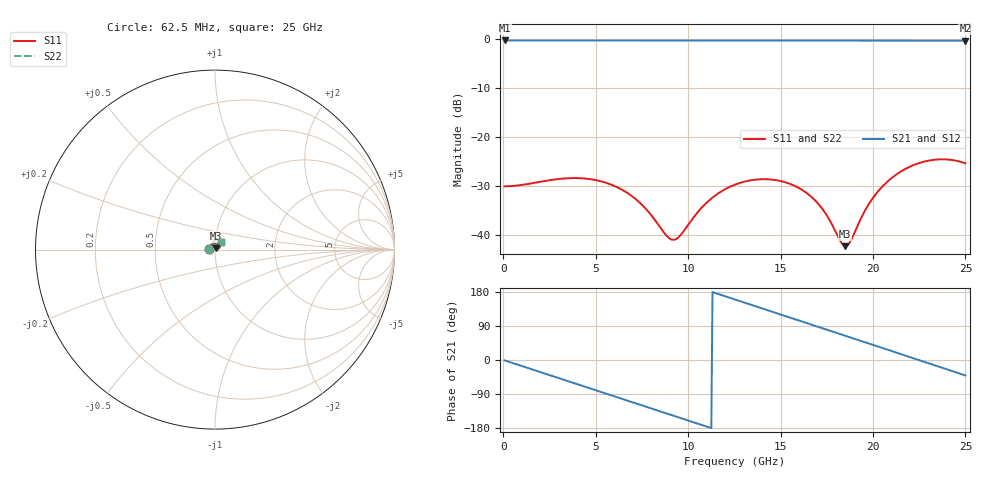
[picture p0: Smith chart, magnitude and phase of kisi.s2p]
! thru_BV_vna_rf_hblb1_q050f25s_out: 2×thru In2.Cu, 6 mm
! stackup: as the board case
! ports: 1 near, 2 far
! kisi-fdtd, conformal, dfine 0.05 mm, 296725 cells
# Hz S RI R 50
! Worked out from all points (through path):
!   400 points, 62.5 MHz to 25 GHz, reference 50 ohm
!   highest |S21| = -0.28 dB at 62.5 MHz (marker M1); lowest = -0.3 dB at 25 GHz (marker M2)
!   group delay of S21, straight-line fit = 44.5 ps
!   lowest |S11| = -42.2 dB at 18.5 GHz (marker M3), VSWR 1.02, Z = 50.3 + j0.719 ohm
!   |S11| at or under -10 dB: start of sweep to end of sweep
!   |S22| runs from -42.2 to -24.5 dB; largest |S21 - S12| = 0
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6.25e7  -0.0315 0.00109  0.9679 -0.0169  0.9679 -0.0169  -0.0315 0.00109
2e9  -0.0176 0.0304  0.8201 -0.5126  0.8201 -0.5126  -0.0176 0.0304
4.25e9  0.0153 0.0349  0.3631 -0.8952  0.3631 -0.8952  0.0153 0.0349
5.25e9  0.0243 0.026  0.103 -0.9603  0.103 -0.9603  0.0243 0.026
6.25e9  0.0261 0.0153  -0.1652 -0.9516  -0.1652 -0.9516  0.0261 0.0153
7.375e9  0.0205 0.00646  -0.4507 -0.8542  -0.4507 -0.8542  0.0205 0.00646
8.375e9  0.0121 0.00435  -0.6685 -0.697  -0.6685 -0.697  0.0121 0.00435
8.9375e9  0.00744 0.00582  -0.7692 -0.5839  -0.7692 -0.5839  0.00744 0.00582
9.3125e9  0.00478 0.00774  -0.826 -0.5004  -0.826 -0.5004  0.00478 0.00774
1.09375e10  0.000616 0.0209  -0.9615 -0.0877  -0.9615 -0.0877  0.000616 0.0209
1.25625e10  0.00938 0.0316  -0.9023 0.3427  -0.9023 0.3427  0.00938 0.0316
1.475e10  0.0254 0.0261  -0.5419 0.7984  -0.5419 0.7984  0.0254 0.0261
1.66875e10  0.0222 0.0102  -0.0521 0.9634  -0.0521 0.9634  0.0222 0.0102
1.7375e10  0.016 0.00663  0.1333 0.9555  0.1333 0.9555  0.016 0.00663
1.85e10  0.00296 0.00715  0.4232 0.8669  0.4232 0.8669  0.00296 0.00715
1.875e10  5.17e-05 0.0085  0.4829 0.8351  0.4829 0.8351  5.17e-05 0.0085
1.9875e10  -0.0103 0.0197  0.7183 0.6436  0.7183 0.6436  -0.0103 0.0197
2.0875e10  -0.0125 0.0343  0.8683 0.419  0.8683 0.419  -0.0125 0.0343
2.19375e10  -0.00552 0.0491  0.9527 0.1447  0.9527 0.1447  -0.00552 0.0491
2.29375e10  0.00806 0.0567  0.9549 -0.1256  0.9549 -0.1256  0.00806 0.0567
2.39375e10  0.0234 0.0545  0.8819 -0.3857  0.8819 -0.3857  0.0234 0.0545
2.5e10  0.034 0.0421  0.7286 -0.6283  0.7286 -0.6283  0.034 0.0421
